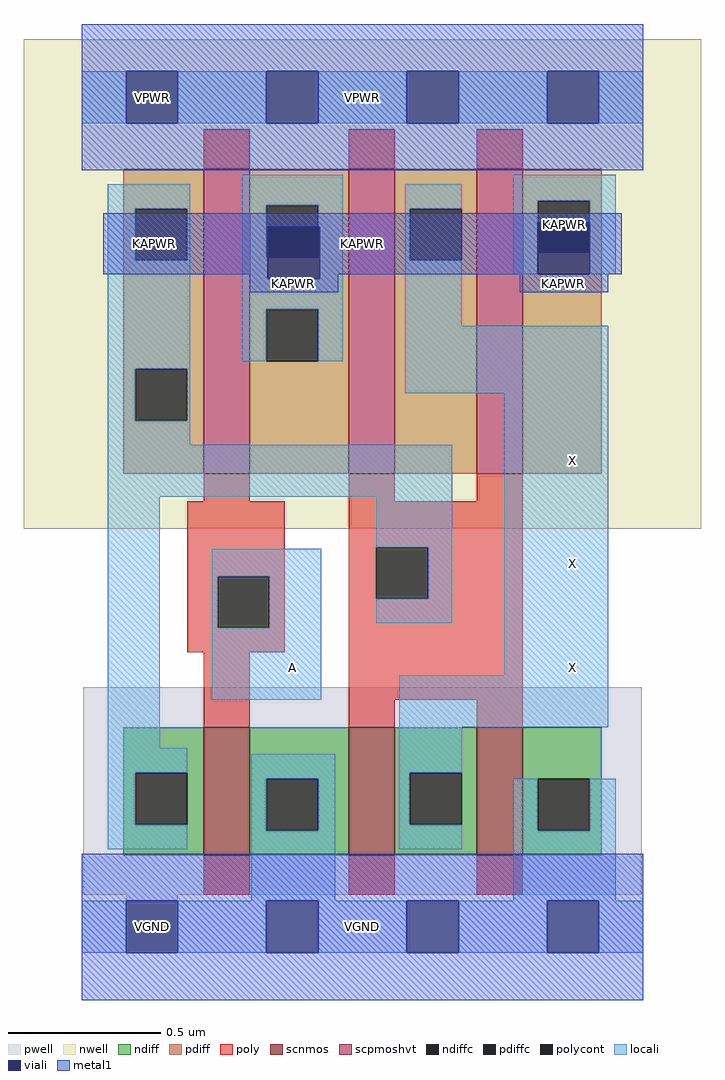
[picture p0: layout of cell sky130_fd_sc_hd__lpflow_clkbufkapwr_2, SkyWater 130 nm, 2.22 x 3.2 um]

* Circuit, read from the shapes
.subckt sky130_fd_sc_hd__lpflow_clkbufkapwr_2 A KAPWR VGND VNB VPB VPWR X
XM1 VGND A n1 VNB sky130_fd_pr__nfet_01v8 w=0.42 l=0.15
XM2 X n1 VGND VNB sky130_fd_pr__nfet_01v8 w=0.42 l=0.15 m=2
XM3 KAPWR A n1 VPB sky130_fd_pr__pfet_01v8_hvt w=1 l=0.15
XM4 X n1 KAPWR VPB sky130_fd_pr__pfet_01v8_hvt w=1 l=0.15 m=2
.ends

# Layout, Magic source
magic
tech sky130B
magscale 1 2
<< nwell >>
rect -38 261 406 582
<< pwell >>
rect 1 21 367 157
rect 29 -17 63 21
<< scnmos >>
rect 80 47 110 131
rect 175 47 205 131
rect 259 47 289 131
<< scpmoshvt >>
rect 80 297 110 497
rect 175 297 205 497
rect 259 297 289 497
<< ndiff >>
rect 27 101 80 131
rect 27 67 35 101
rect 69 67 80 101
rect 27 47 80 67
rect 110 97 175 131
rect 110 63 121 97
rect 155 63 175 97
rect 110 47 175 63
rect 205 101 259 131
rect 205 67 215 101
rect 249 67 259 101
rect 205 47 259 67
rect 289 97 341 131
rect 289 63 299 97
rect 333 63 341 97
rect 289 47 341 63
<< pdiff >>
rect 27 471 80 497
rect 27 437 35 471
rect 69 437 80 471
rect 27 366 80 437
rect 27 332 35 366
rect 69 332 80 366
rect 27 297 80 332
rect 110 473 175 497
rect 110 439 121 473
rect 155 439 175 473
rect 110 405 175 439
rect 110 371 121 405
rect 155 371 175 405
rect 110 297 175 371
rect 205 471 259 497
rect 205 437 215 471
rect 249 437 259 471
rect 205 297 259 437
rect 289 476 341 497
rect 289 442 299 476
rect 333 442 341 476
rect 289 297 341 442
<< ndiffc >>
rect 35 67 69 101
rect 121 63 155 97
rect 215 67 249 101
rect 299 63 333 97
<< pdiffc >>
rect 35 437 69 471
rect 35 332 69 366
rect 121 439 155 473
rect 121 371 155 405
rect 215 437 249 471
rect 299 442 333 476
<< poly >>
rect 80 497 110 523
rect 175 497 205 523
rect 259 497 289 523
rect 80 279 110 297
rect 175 279 205 297
rect 259 279 289 297
rect 69 230 133 279
rect 69 196 89 230
rect 123 196 133 230
rect 69 180 133 196
rect 175 249 289 279
rect 175 215 193 249
rect 227 215 289 249
rect 80 131 110 180
rect 175 149 289 215
rect 175 131 205 149
rect 259 131 289 149
rect 80 21 110 47
rect 175 21 205 47
rect 259 21 289 47
<< polycont >>
rect 89 196 123 230
rect 193 215 227 249
<< locali >>
rect 0 527 29 561
rect 63 527 121 561
rect 155 527 213 561
rect 247 527 305 561
rect 339 527 368 561
rect 17 471 71 487
rect 17 437 35 471
rect 69 437 71 471
rect 17 366 71 437
rect 105 473 171 493
rect 105 439 121 473
rect 155 459 171 473
rect 105 425 122 439
rect 156 425 171 459
rect 105 405 171 425
rect 105 371 121 405
rect 155 371 171 405
rect 212 471 249 487
rect 212 437 215 471
rect 212 394 249 437
rect 283 476 350 493
rect 283 428 299 476
rect 333 428 350 476
rect 17 332 35 366
rect 69 332 71 366
rect 212 350 345 394
rect 17 316 71 332
rect 17 282 243 316
rect 17 117 51 282
rect 193 249 243 282
rect 85 230 157 248
rect 85 196 89 230
rect 123 196 157 230
rect 227 215 243 249
rect 193 199 243 215
rect 85 149 157 196
rect 277 165 345 350
rect 208 131 345 165
rect 17 101 69 117
rect 17 67 35 101
rect 17 51 69 67
rect 111 97 166 113
rect 111 63 121 97
rect 155 63 166 97
rect 111 17 166 63
rect 208 101 249 131
rect 208 67 215 101
rect 208 51 249 67
rect 283 63 299 97
rect 333 63 350 97
rect 283 17 350 63
rect 0 -17 29 17
rect 63 -17 121 17
rect 155 -17 213 17
rect 247 -17 305 17
rect 339 -17 368 17
<< viali >>
rect 29 527 63 561
rect 121 527 155 561
rect 213 527 247 561
rect 305 527 339 561
rect 122 439 155 459
rect 155 439 156 459
rect 122 425 156 439
rect 299 442 333 462
rect 299 428 333 442
rect 29 -17 63 17
rect 121 -17 155 17
rect 213 -17 247 17
rect 305 -17 339 17
<< metal1 >>
rect 0 561 368 592
rect 0 527 29 561
rect 63 527 121 561
rect 155 527 213 561
rect 247 527 305 561
rect 339 527 368 561
rect 0 496 368 527
rect 14 462 354 468
rect 14 459 299 462
rect 14 428 122 459
rect 110 425 122 428
rect 156 428 299 459
rect 333 428 354 462
rect 156 425 168 428
rect 110 416 168 425
rect 287 416 345 428
rect 0 17 368 48
rect 0 -17 29 17
rect 63 -17 121 17
rect 155 -17 213 17
rect 247 -17 305 17
rect 339 -17 368 17
rect 0 -48 368 -17
<< labels >>
flabel locali s 121 153 155 187 0 FreeSans 200 0 0 0 A
port 1 nsew signal input
flabel locali s 305 221 339 255 0 FreeSans 200 0 0 0 X
port 7 nsew signal output
flabel locali s 305 153 339 187 0 FreeSans 200 0 0 0 X
port 7 nsew signal output
flabel locali s 305 289 339 323 0 FreeSans 200 0 0 0 X
port 7 nsew signal output
flabel metal1 s 30 428 65 468 0 FreeSans 200 0 0 0 KAPWR
port 2 nsew power bidirectional abutment
flabel metal1 s 29 -17 63 17 0 FreeSans 200 0 0 0 VGND
port 3 nsew ground bidirectional abutment
flabel metal1 s 29 527 63 561 0 FreeSans 200 0 0 0 VPWR
port 6 nsew power bidirectional abutment
flabel metal1 s 46 0 46 0 0 FreeSans 200 0 0 0 VGND
flabel metal1 s 46 544 46 544 0 FreeSans 200 0 0 0 VPWR
flabel nwell s 29 527 63 561 0 FreeSans 200 0 0 0 VPB
port 5 nsew power bidirectional
flabel pwell s 29 -17 63 17 0 FreeSans 200 0 0 0 VNB
port 4 nsew ground bidirectional
rlabel comment s 0 0 0 0 4 lpflow_clkbufkapwr_2
rlabel locali s 283 428 350 493 1 KAPWR
port 2 nsew power bidirectional abutment
rlabel metal1 s 287 416 345 428 1 KAPWR
port 2 nsew power bidirectional abutment
rlabel metal1 s 110 416 168 428 1 KAPWR
port 2 nsew power bidirectional abutment
rlabel metal1 s 14 428 354 468 1 KAPWR
port 2 nsew power bidirectional abutment
rlabel metal1 s 0 -48 368 48 1 VGND
port 3 nsew ground bidirectional abutment
rlabel metal1 s 0 496 368 592 1 VPWR
port 6 nsew power bidirectional abutment
<< properties >>
string FIXED_BBOX 0 0 368 544
string GDS_END 2245754
string GDS_FILE $PDKPATH/libs.ref/sky130_fd_sc_hd/gds/sky130_fd_sc_hd.gds
string GDS_START 2240966
string LEFclass CORE
string LEFsite unithd
string LEFsymmetry X Y R90
<< end >>
